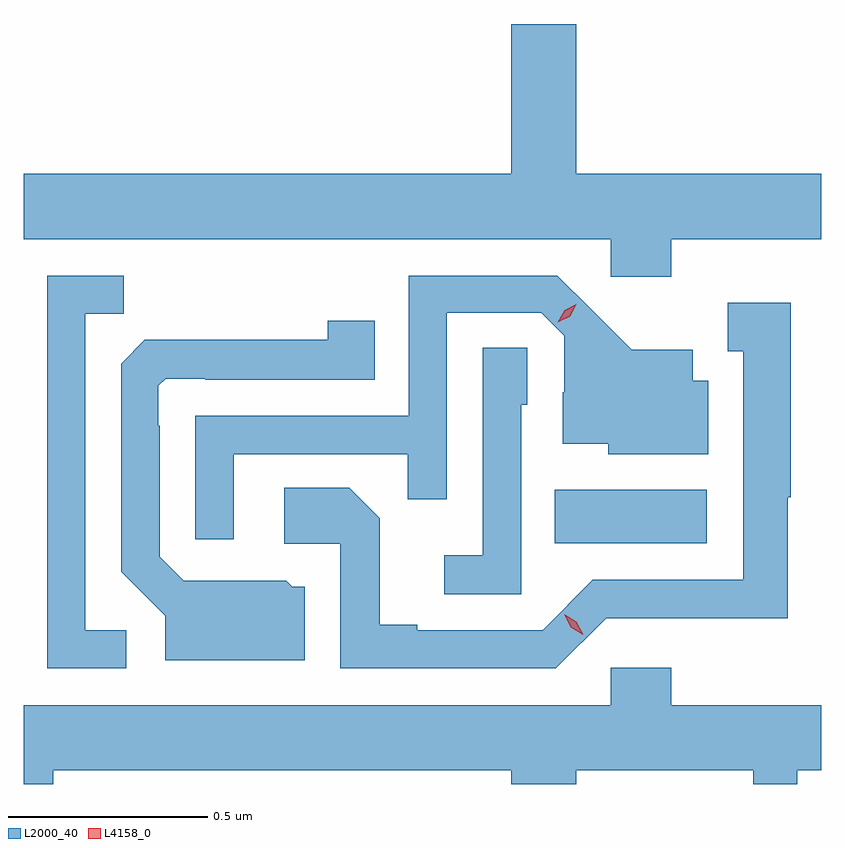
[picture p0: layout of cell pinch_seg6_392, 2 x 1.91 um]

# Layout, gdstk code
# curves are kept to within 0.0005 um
import gdstk
lib = gdstk.Library(unit=1e-6, precision=1e-09)
def R(c, l, rs):  # rectangles x0, y0, x1, y1
    for r in rs: c.add(gdstk.rectangle(r[:2], r[2:], *l))
def P(c, l, *ps):  # polygons
    for p in ps: c.add(gdstk.Polygon(p, *l))
L2000_40 = (2000, 40)
L4158_0 = (4158, 0)

pinch_seg6_392 = lib.new_cell('pinch_seg6_392')
R(pinch_seg6_392, L2000_40, [(644.638,929.258,645.019,929.392)])
P(pinch_seg6_392, L2000_40, [(644.93,930.02),(645.306,930.02),(645.306,930.184),(644.692,930.184),(644.692,930.559),(644.528,930.559),(644.528,930.184),(643.306,930.184),(643.306,930.02),(644.778,930.02),(644.778,929.925),(644.93,929.925)],
  [(643.833,929.481),(644.269,929.481),(644.269,929.368),(644.367,929.368),(644.367,929.835),(644.604,929.835),(644.661,929.778),(644.661,929.636),(644.657,929.636),(644.657,929.507),(644.772,929.507),(644.772,929.48),(645.022,929.48),(645.022,929.665),(644.983,929.665),(644.983,929.743),(644.831,929.743),(644.644,929.928),(644.271,929.928),(644.271,929.577),(643.737,929.577),(643.737,929.268),(643.833,929.268)],
  [(643.564,929.04),(643.461,929.04),(643.461,929.833),(643.557,929.833),(643.557,929.928),(643.365,929.928),(643.365,928.944),(643.564,928.944)],
  [(644.766,929.07),(644.988,929.07),(644.988,929.069),(645.221,929.069),(645.221,929.373),(645.229,929.373),(645.229,929.86),(645.071,929.86),(645.071,929.739),(645.11,929.739),(645.11,929.166),(644.733,929.166),(644.607,929.04),(644.293,929.04),(644.293,929.053),(644.199,929.053),(644.199,929.32),(644.123,929.396),(643.959,929.396),(643.959,929.256),(644.1,929.256),(644.1,928.944),(644.64,928.944)],
  [(644.011,929.148),(643.98,929.148),(643.964,929.164),(643.83,929.164),(643.83,929.163),(643.707,929.163),(643.647,929.223),(643.647,929.552),(643.644,929.552),(643.644,929.652),(643.662,929.67),(643.762,929.67),(643.762,929.667),(644.186,929.667),(644.186,929.815),(644.068,929.815),(644.068,929.768),(643.711,929.768),(643.711,929.767),(643.61,929.767),(643.551,929.708),(643.551,929.186),(643.661,929.076),(643.661,928.964),(644.011,928.964)],
  [(644.553,929.604),(644.568,929.604),(644.568,929.747),(644.457,929.747),(644.457,929.227),(644.361,929.227),(644.361,929.13),(644.553,929.13)],
  [(643.381,928.688),(644.528,928.688),(644.528,928.654),(644.692,928.654),(644.692,928.688),(645.135,928.688),(645.135,928.654),(645.245,928.654),(645.245,928.688),(645.306,928.688),(645.306,928.852),(644.93,928.852),(644.93,928.945),(644.778,928.945),(644.778,928.852),(643.306,928.852),(643.306,928.654),(643.381,928.654)])
P(pinch_seg6_392, L4158_0, [(644.709,929.028),(644.677,929.047),(644.661,929.08),(644.661,929.08),(644.661,929.08),(644.692,929.061),(644.709,929.028),(644.709,929.028)],
  [(644.645,929.811),(644.645,929.811),(644.662,929.841),(644.692,929.856),(644.692,929.856),(644.692,929.856),(644.676,929.826),(644.645,929.811)])

lib.write_gds('pinch_seg6_392.gds')
